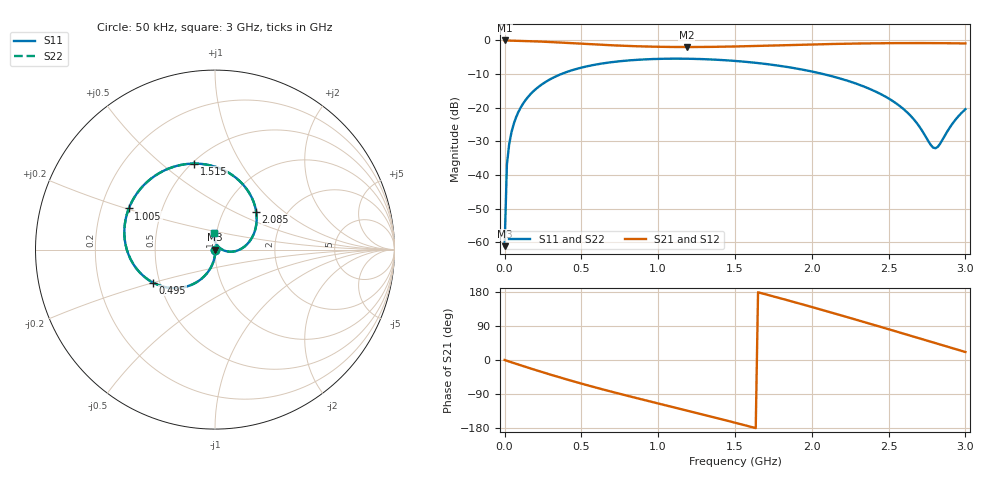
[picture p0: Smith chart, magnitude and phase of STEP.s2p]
! STEP: 10 mm at 50 ohm, 30 mm at about 25 ohm (0.5 mm wide), 10 mm at 50 ohm
! Predicted from examples/coupon/si-coupon.tsx by scripts/predict-coupon.tsx (routed 2.5D ladder, 130 series cells, ngspice AC).
! SMA pads enter as parallel-plate C; connector bodies are not modelled, so compare through the FIX2X 2x-thru.
! Port order: J5, J6.
# HZ S RI R 50
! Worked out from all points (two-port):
!   201 points, 50 kHz to 3 GHz, reference 50 ohm
!   highest |S21| = -0.01 dB at 50 kHz (marker M1); lowest = -2.0 dB at 1.185 GHz (marker M2)
!   |S21| within 3 dB of the highest: start of sweep to end of sweep
!   lowest |S11| = -61.2 dB at 50 kHz (marker M3), VSWR 1.00, Z = 50.1 - j0.00232 ohm
!   |S11| at or under -10 dB: start of sweep to 368.8 MHz; 2.075 GHz to end of sweep
!   |S22| runs from -61.2 to -5.4 dB; largest |S21 - S12| = 0
!   S11 on the Smith chart (normalised r, x): 50 kHz: 1.00, -0.00; 495 MHz: 0.46, -0.20; 1.005 GHz: 0.32, +0.20; 1.515 GHz: 0.51, +0.65; 2.085 GHz: 1.41, +0.66; 3 GHz: 0.97, +0.19
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50000  0.000876 -2.32e-05  0.9991 -0.000153  0.9991 -0.000153  0.000876 -2.32e-05
1.504975e7  0.00153 -0.0143  0.9963 -0.0367  0.9963 -0.0367  0.00153 -0.0143
3.00495e7  0.000198 -0.029  0.9929 -0.0717  0.9929 -0.0717  0.000198 -0.029
4.504925e7  -0.00231 -0.0435  0.9883 -0.1062  0.9883 -0.1062  -0.00231 -0.0435
7.504875e7  -0.0105 -0.0717  0.9752 -0.1738  0.9752 -0.1738  -0.0105 -0.0717
1.350478e8  -0.038 -0.123  0.934 -0.3025  0.934 -0.3025  -0.038 -0.123
2.250462e8  -0.1016 -0.1811  0.8395 -0.4739  0.8395 -0.4739  -0.1016 -0.1811
4.950418e8  -0.3462 -0.1834  0.424 -0.7878  0.424 -0.7878  -0.3462 -0.1834
5.100415e8  -0.3584 -0.1764  0.3988 -0.7965  0.3988 -0.7965  -0.3584 -0.1764
7.350378e8  -0.4864 -0.0155  0.033 -0.8389  0.033 -0.8389  -0.4864 -0.0155
1.005033e9  -0.4802 0.2293  -0.3432 -0.7275  -0.3432 -0.7275  -0.4802 0.2293
1.18503e9  -0.3889 0.367  -0.5469 -0.581  -0.5469 -0.581  -0.3889 0.367
1.500025e9  -0.1288 0.479  -0.787 -0.2047  -0.787 -0.2047  -0.1288 0.479
1.515025e9  -0.1152 0.4793  -0.7937 -0.1834  -0.7937 -0.1834  -0.1152 0.4793
1.77002e9  0.0968 0.4148  -0.8167 0.2087  -0.8167 0.2087  0.0968 0.4148
2.010016e9  0.2152 0.2654  -0.6556 0.5751  -0.6556 0.5751  0.2152 0.2654
2.085015e9  0.2292 0.2121  -0.5674 0.6732  -0.5674 0.6732  0.2292 0.2121
2.310012e9  0.2076 0.0697  -0.2152 0.8744  -0.2152 0.8744  0.2076 0.0697
2.505008e9  0.1352 -0.00116  0.148 0.8985  0.148 0.8985  0.1352 -0.00116
2.640006e9  0.0764 -0.0114  0.3936 0.8242  0.3936 0.8242  0.0764 -0.0114
2.805003e9  0.0175 0.0179  0.6491 0.6402  0.6491 0.6402  0.0175 0.0179
3e9  -0.00695 0.0949  0.842 0.3241  0.842 0.3241  -0.00695 0.0949
